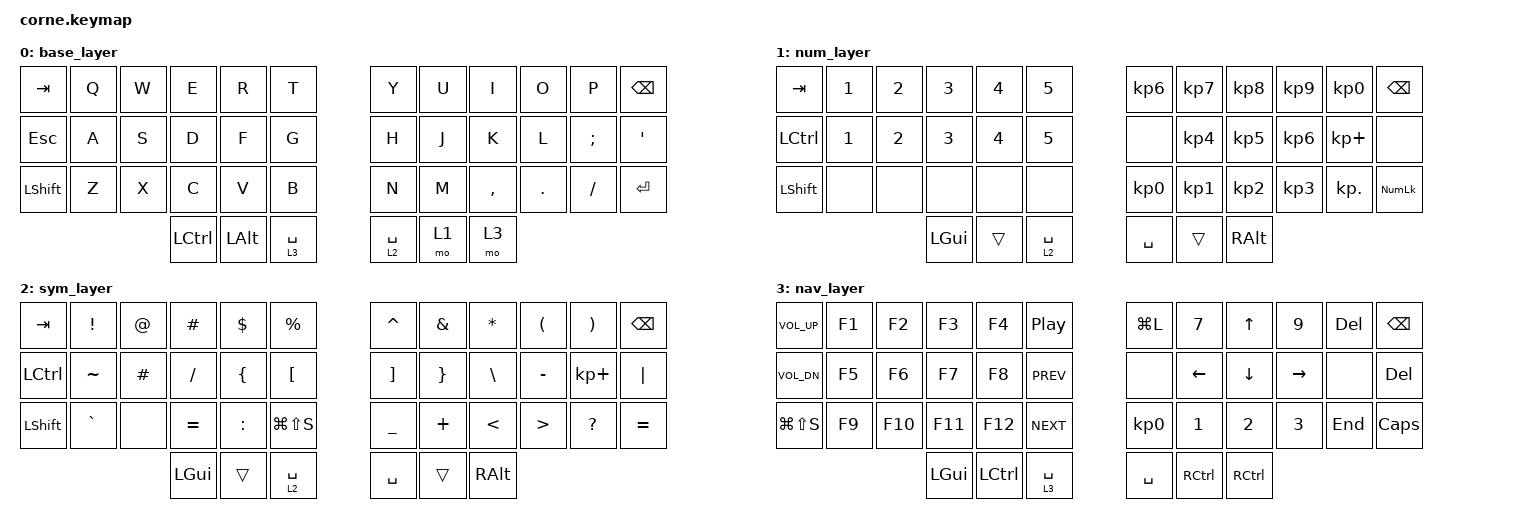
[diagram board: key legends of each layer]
#include <behaviors.dtsi>
#include <dt-bindings/zmk/keys.h>
#include <dt-bindings/zmk/bt.h>

/*
 Layers (same numbering as the VIA file):
 0 BASE, 1 NUM, 2 SYM, 3 NAV/FN
 VIA macro 0 = Gui+Shift+S, macro 1 = Gui+L, written inline below.
*/

/ {
    keymap {
        compatible = "zmk,keymap";

        base_layer {
            bindings = <
&kp TAB     &kp Q  &kp W  &kp E     &kp R     &kp T        &kp Y  &kp U      &kp I      &kp O    &kp P     &kp BSPC
&kp ESC     &kp A  &kp S  &kp D     &kp F     &kp G        &kp H  &kp J      &kp K      &kp L    &kp SEMI  &kp SQT
&kp LSHFT   &kp Z  &kp X  &kp C     &kp V     &kp B        &kp N  &kp M      &kp COMMA  &kp DOT  &kp FSLH  &kp RET
                          &kp LCTRL &kp LALT  &lt 3 SPACE  &lt 2 SPACE  &mo 1  &mo 3
            >;
        };

        num_layer {
            bindings = <
&kp TAB     &kp N1   &kp N2   &kp N3   &kp N4   &kp N5       &kp KP_N6  &kp KP_N7  &kp KP_N8  &kp KP_N9  &kp KP_N0    &kp BSPC
&kp LCTRL   &kp N1   &kp N2   &kp N3   &kp N4   &kp N5       &none      &kp KP_N4  &kp KP_N5  &kp KP_N6  &kp KP_PLUS  &none
&kp LSHFT   &none    &none    &none    &none    &none        &kp KP_N0  &kp KP_N1  &kp KP_N2  &kp KP_N3  &kp KP_DOT   &kp KP_NUMLOCK
                               &kp LGUI &trans   &lt 2 SPACE  &kp SPACE  &trans  &kp RALT
            >;
        };

        sym_layer {
            bindings = <
&kp TAB     &kp EXCL   &kp AT    &kp HASH   &kp DLLR   &kp PRCNT     &kp CARET  &kp AMPS   &kp STAR   &kp LPAR   &kp RPAR   &kp BSPC
&kp LCTRL   &kp TILDE  &kp HASH  &kp FSLH   &kp LBRC   &kp LBKT      &kp RBKT   &kp RBRC   &kp BSLH   &kp MINUS  &kp KP_PLUS &kp PIPE
&kp LSHFT   &kp GRAVE  &none     &kp EQUAL  &kp COLON  &kp LG(LS(S)) &kp UNDER  &kp PLUS   &kp LT     &kp GT     &kp QMARK  &kp EQUAL
                                  &kp LGUI  &trans     &lt 2 SPACE   &kp SPACE  &trans     &kp RALT
            >;
        };

        nav_layer {
            bindings = <
&kp C_VOL_UP  &kp F1   &kp F2   &kp F3   &kp F4   &kp C_PP        &kp LG(L)  &kp N7     &kp UP    &kp N9    &kp DEL    &kp BSPC
&kp C_VOL_DN  &kp F5   &kp F6   &kp F7   &kp F8   &kp C_PREV      &none      &kp LEFT   &kp DOWN  &kp RIGHT &none      &kp DEL
&kp LG(LS(S)) &kp F9   &kp F10  &kp F11  &kp F12  &kp C_NEXT     &kp KP_N0  &kp N1     &kp N2    &kp N3    &kp END    &kp CAPS
                                &kp LGUI &kp LCTRL &lt 3 SPACE   &kp SPACE  &kp RCTRL  &kp RCTRL
            >;
        };
    };
};
